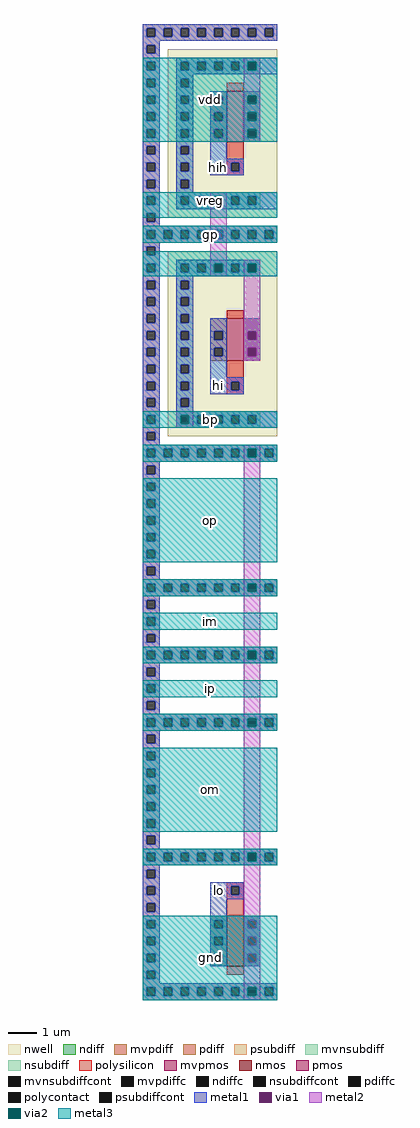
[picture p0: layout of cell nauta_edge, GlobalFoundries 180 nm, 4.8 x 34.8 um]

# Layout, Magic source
magic
tech gf180mcuC
<< nwell >>
rect -738 426 -660 546
rect -738 270 -660 402
<< nmos >>
rect -696 -108 -684 -72
<< pmos >>
rect -696 324 -684 354
<< mvpmos >>
rect -696 480 -684 516
<< ndiff >>
rect -708 -75 -696 -72
rect -708 -81 -705 -75
rect -699 -81 -696 -75
rect -708 -87 -696 -81
rect -708 -93 -705 -87
rect -699 -93 -696 -87
rect -708 -99 -696 -93
rect -708 -105 -705 -99
rect -699 -105 -696 -99
rect -708 -108 -696 -105
rect -684 -75 -672 -72
rect -684 -81 -681 -75
rect -675 -81 -672 -75
rect -684 -87 -672 -81
rect -684 -93 -681 -87
rect -675 -93 -672 -87
rect -684 -99 -672 -93
rect -684 -105 -681 -99
rect -675 -105 -672 -99
rect -684 -108 -672 -105
<< pdiff >>
rect -708 345 -696 354
rect -708 339 -705 345
rect -699 339 -696 345
rect -708 333 -696 339
rect -708 327 -705 333
rect -699 327 -696 333
rect -708 324 -696 327
rect -684 345 -672 354
rect -684 339 -681 345
rect -675 339 -672 345
rect -684 333 -672 339
rect -684 327 -681 333
rect -675 327 -672 333
rect -684 324 -672 327
<< mvpdiff >>
rect -708 513 -696 516
rect -708 507 -705 513
rect -699 507 -696 513
rect -708 501 -696 507
rect -708 495 -705 501
rect -699 495 -696 501
rect -708 489 -696 495
rect -708 483 -705 489
rect -699 483 -696 489
rect -708 480 -696 483
rect -684 513 -672 516
rect -684 507 -681 513
rect -675 507 -672 513
rect -684 501 -672 507
rect -684 495 -681 501
rect -675 495 -672 501
rect -684 489 -672 495
rect -684 483 -681 489
rect -675 483 -672 489
rect -684 480 -672 483
<< ndiffc >>
rect -705 -81 -699 -75
rect -705 -93 -699 -87
rect -705 -105 -699 -99
rect -681 -81 -675 -75
rect -681 -93 -675 -87
rect -681 -105 -675 -99
<< pdiffc >>
rect -705 339 -699 345
rect -705 327 -699 333
rect -681 339 -675 345
rect -681 327 -675 333
<< mvpdiffc >>
rect -705 507 -699 513
rect -705 495 -699 501
rect -705 483 -699 489
rect -681 507 -675 513
rect -681 495 -675 501
rect -681 483 -675 489
<< psubdiff >>
rect -756 561 -660 564
rect -756 555 -753 561
rect -747 555 -741 561
rect -735 555 -729 561
rect -723 555 -717 561
rect -711 555 -705 561
rect -699 555 -693 561
rect -687 555 -681 561
rect -675 555 -669 561
rect -663 555 -660 561
rect -756 552 -660 555
rect -756 549 -744 552
rect -756 543 -753 549
rect -747 543 -744 549
rect -756 537 -744 543
rect -756 531 -753 537
rect -747 531 -744 537
rect -756 525 -744 531
rect -756 519 -753 525
rect -747 519 -744 525
rect -756 513 -744 519
rect -756 507 -753 513
rect -747 507 -744 513
rect -756 501 -744 507
rect -756 495 -753 501
rect -747 495 -744 501
rect -756 489 -744 495
rect -756 483 -753 489
rect -747 483 -744 489
rect -756 477 -744 483
rect -756 471 -753 477
rect -747 471 -744 477
rect -756 465 -744 471
rect -756 459 -753 465
rect -747 459 -744 465
rect -756 453 -744 459
rect -756 447 -753 453
rect -747 447 -744 453
rect -756 441 -744 447
rect -756 435 -753 441
rect -747 435 -744 441
rect -756 429 -744 435
rect -756 423 -753 429
rect -747 423 -744 429
rect -756 420 -744 423
rect -756 417 -660 420
rect -756 411 -753 417
rect -747 411 -741 417
rect -735 411 -729 417
rect -723 411 -717 417
rect -711 411 -705 417
rect -699 411 -693 417
rect -687 411 -681 417
rect -675 411 -669 417
rect -663 411 -660 417
rect -756 408 -660 411
rect -756 405 -744 408
rect -756 399 -753 405
rect -747 399 -744 405
rect -756 393 -744 399
rect -756 387 -753 393
rect -747 387 -744 393
rect -756 381 -744 387
rect -756 375 -753 381
rect -747 375 -744 381
rect -756 369 -744 375
rect -756 363 -753 369
rect -747 363 -744 369
rect -756 357 -744 363
rect -756 351 -753 357
rect -747 351 -744 357
rect -756 345 -744 351
rect -756 339 -753 345
rect -747 339 -744 345
rect -756 333 -744 339
rect -756 327 -753 333
rect -747 327 -744 333
rect -756 321 -744 327
rect -756 315 -753 321
rect -747 315 -744 321
rect -756 309 -744 315
rect -756 303 -753 309
rect -747 303 -744 309
rect -756 297 -744 303
rect -756 291 -753 297
rect -747 291 -744 297
rect -756 285 -744 291
rect -756 279 -753 285
rect -747 279 -744 285
rect -756 273 -744 279
rect -756 267 -753 273
rect -747 267 -744 273
rect -756 264 -744 267
rect -756 261 -660 264
rect -756 255 -753 261
rect -747 255 -741 261
rect -735 255 -729 261
rect -723 255 -717 261
rect -711 255 -705 261
rect -699 255 -693 261
rect -687 255 -681 261
rect -675 255 -669 261
rect -663 255 -660 261
rect -756 252 -660 255
rect -756 249 -744 252
rect -756 243 -753 249
rect -747 243 -744 249
rect -756 237 -744 243
rect -756 231 -753 237
rect -747 231 -744 237
rect -756 225 -744 231
rect -756 219 -753 225
rect -747 219 -744 225
rect -756 213 -744 219
rect -756 207 -753 213
rect -747 207 -744 213
rect -756 201 -744 207
rect -756 195 -753 201
rect -747 195 -744 201
rect -756 189 -744 195
rect -756 183 -753 189
rect -747 183 -744 189
rect -756 177 -744 183
rect -756 171 -753 177
rect -747 171 -744 177
rect -756 168 -744 171
rect -756 165 -660 168
rect -756 159 -753 165
rect -747 159 -741 165
rect -735 159 -729 165
rect -723 159 -717 165
rect -711 159 -705 165
rect -699 159 -693 165
rect -687 159 -681 165
rect -675 159 -669 165
rect -663 159 -660 165
rect -756 156 -660 159
rect -756 153 -744 156
rect -756 147 -753 153
rect -747 147 -744 153
rect -756 141 -744 147
rect -756 135 -753 141
rect -747 135 -744 141
rect -756 129 -744 135
rect -756 123 -753 129
rect -747 123 -744 129
rect -756 120 -744 123
rect -756 117 -660 120
rect -756 111 -753 117
rect -747 111 -741 117
rect -735 111 -729 117
rect -723 111 -717 117
rect -711 111 -705 117
rect -699 111 -693 117
rect -687 111 -681 117
rect -675 111 -669 117
rect -663 111 -660 117
rect -756 108 -660 111
rect -756 105 -744 108
rect -756 99 -753 105
rect -747 99 -744 105
rect -756 93 -744 99
rect -756 87 -753 93
rect -747 87 -744 93
rect -756 81 -744 87
rect -756 75 -753 81
rect -747 75 -744 81
rect -756 72 -744 75
rect -756 69 -660 72
rect -756 63 -753 69
rect -747 63 -741 69
rect -735 63 -729 69
rect -723 63 -717 69
rect -711 63 -705 69
rect -699 63 -693 69
rect -687 63 -681 69
rect -675 63 -669 69
rect -663 63 -660 69
rect -756 60 -660 63
rect -756 57 -744 60
rect -756 51 -753 57
rect -747 51 -744 57
rect -756 45 -744 51
rect -756 39 -753 45
rect -747 39 -744 45
rect -756 33 -744 39
rect -756 27 -753 33
rect -747 27 -744 33
rect -756 21 -744 27
rect -756 15 -753 21
rect -747 15 -744 21
rect -756 9 -744 15
rect -756 3 -753 9
rect -747 3 -744 9
rect -756 -3 -744 3
rect -756 -9 -753 -3
rect -747 -9 -744 -3
rect -756 -15 -744 -9
rect -756 -21 -753 -15
rect -747 -21 -744 -15
rect -756 -24 -744 -21
rect -756 -27 -660 -24
rect -756 -33 -753 -27
rect -747 -33 -741 -27
rect -735 -33 -729 -27
rect -723 -33 -717 -27
rect -711 -33 -705 -27
rect -699 -33 -693 -27
rect -687 -33 -681 -27
rect -675 -33 -669 -27
rect -663 -33 -660 -27
rect -756 -36 -660 -33
rect -756 -39 -744 -36
rect -756 -45 -753 -39
rect -747 -45 -744 -39
rect -756 -51 -744 -45
rect -756 -57 -753 -51
rect -747 -57 -744 -51
rect -756 -63 -744 -57
rect -756 -69 -753 -63
rect -747 -69 -744 -63
rect -756 -75 -744 -69
rect -756 -81 -753 -75
rect -747 -81 -744 -75
rect -756 -87 -744 -81
rect -756 -93 -753 -87
rect -747 -93 -744 -87
rect -756 -99 -744 -93
rect -756 -105 -753 -99
rect -747 -105 -744 -99
rect -756 -111 -744 -105
rect -756 -117 -753 -111
rect -747 -117 -744 -111
rect -756 -120 -744 -117
rect -756 -123 -660 -120
rect -756 -129 -753 -123
rect -747 -129 -741 -123
rect -735 -129 -729 -123
rect -723 -129 -717 -123
rect -711 -129 -705 -123
rect -699 -129 -693 -123
rect -687 -129 -681 -123
rect -675 -129 -669 -123
rect -663 -129 -660 -123
rect -756 -132 -660 -129
<< nsubdiff >>
rect -732 393 -672 396
rect -732 387 -729 393
rect -723 387 -717 393
rect -711 387 -705 393
rect -699 387 -693 393
rect -687 387 -681 393
rect -675 387 -672 393
rect -732 384 -672 387
rect -732 381 -720 384
rect -732 375 -729 381
rect -723 375 -720 381
rect -732 369 -720 375
rect -732 363 -729 369
rect -723 363 -720 369
rect -732 357 -720 363
rect -732 351 -729 357
rect -723 351 -720 357
rect -732 345 -720 351
rect -732 339 -729 345
rect -723 339 -720 345
rect -732 333 -720 339
rect -732 327 -729 333
rect -723 327 -720 333
rect -732 321 -720 327
rect -732 315 -729 321
rect -723 315 -720 321
rect -732 309 -720 315
rect -732 303 -729 309
rect -723 303 -720 309
rect -732 297 -720 303
rect -732 291 -729 297
rect -723 291 -720 297
rect -732 288 -720 291
rect -732 285 -672 288
rect -732 279 -729 285
rect -723 279 -717 285
rect -711 279 -705 285
rect -699 279 -693 285
rect -687 279 -681 285
rect -675 279 -672 285
rect -732 276 -672 279
<< mvnsubdiff >>
rect -732 537 -672 540
rect -732 531 -729 537
rect -723 531 -717 537
rect -711 531 -705 537
rect -699 531 -693 537
rect -687 531 -681 537
rect -675 531 -672 537
rect -732 528 -672 531
rect -732 525 -720 528
rect -732 519 -729 525
rect -723 519 -720 525
rect -732 513 -720 519
rect -732 507 -729 513
rect -723 507 -720 513
rect -732 501 -720 507
rect -732 495 -729 501
rect -723 495 -720 501
rect -732 489 -720 495
rect -732 483 -729 489
rect -723 483 -720 489
rect -732 477 -720 483
rect -732 471 -729 477
rect -723 471 -720 477
rect -732 465 -720 471
rect -732 459 -729 465
rect -723 459 -720 465
rect -732 453 -720 459
rect -732 447 -729 453
rect -723 447 -720 453
rect -732 444 -720 447
rect -732 441 -672 444
rect -732 435 -729 441
rect -723 435 -717 441
rect -711 435 -705 441
rect -699 435 -693 441
rect -687 435 -681 441
rect -675 435 -672 441
rect -732 432 -672 435
<< psubdiffcont >>
rect -753 555 -747 561
rect -741 555 -735 561
rect -729 555 -723 561
rect -717 555 -711 561
rect -705 555 -699 561
rect -693 555 -687 561
rect -681 555 -675 561
rect -669 555 -663 561
rect -753 543 -747 549
rect -753 531 -747 537
rect -753 519 -747 525
rect -753 507 -747 513
rect -753 495 -747 501
rect -753 483 -747 489
rect -753 471 -747 477
rect -753 459 -747 465
rect -753 447 -747 453
rect -753 435 -747 441
rect -753 423 -747 429
rect -753 411 -747 417
rect -741 411 -735 417
rect -729 411 -723 417
rect -717 411 -711 417
rect -705 411 -699 417
rect -693 411 -687 417
rect -681 411 -675 417
rect -669 411 -663 417
rect -753 399 -747 405
rect -753 387 -747 393
rect -753 375 -747 381
rect -753 363 -747 369
rect -753 351 -747 357
rect -753 339 -747 345
rect -753 327 -747 333
rect -753 315 -747 321
rect -753 303 -747 309
rect -753 291 -747 297
rect -753 279 -747 285
rect -753 267 -747 273
rect -753 255 -747 261
rect -741 255 -735 261
rect -729 255 -723 261
rect -717 255 -711 261
rect -705 255 -699 261
rect -693 255 -687 261
rect -681 255 -675 261
rect -669 255 -663 261
rect -753 243 -747 249
rect -753 231 -747 237
rect -753 219 -747 225
rect -753 207 -747 213
rect -753 195 -747 201
rect -753 183 -747 189
rect -753 171 -747 177
rect -753 159 -747 165
rect -741 159 -735 165
rect -729 159 -723 165
rect -717 159 -711 165
rect -705 159 -699 165
rect -693 159 -687 165
rect -681 159 -675 165
rect -669 159 -663 165
rect -753 147 -747 153
rect -753 135 -747 141
rect -753 123 -747 129
rect -753 111 -747 117
rect -741 111 -735 117
rect -729 111 -723 117
rect -717 111 -711 117
rect -705 111 -699 117
rect -693 111 -687 117
rect -681 111 -675 117
rect -669 111 -663 117
rect -753 99 -747 105
rect -753 87 -747 93
rect -753 75 -747 81
rect -753 63 -747 69
rect -741 63 -735 69
rect -729 63 -723 69
rect -717 63 -711 69
rect -705 63 -699 69
rect -693 63 -687 69
rect -681 63 -675 69
rect -669 63 -663 69
rect -753 51 -747 57
rect -753 39 -747 45
rect -753 27 -747 33
rect -753 15 -747 21
rect -753 3 -747 9
rect -753 -9 -747 -3
rect -753 -21 -747 -15
rect -753 -33 -747 -27
rect -741 -33 -735 -27
rect -729 -33 -723 -27
rect -717 -33 -711 -27
rect -705 -33 -699 -27
rect -693 -33 -687 -27
rect -681 -33 -675 -27
rect -669 -33 -663 -27
rect -753 -45 -747 -39
rect -753 -57 -747 -51
rect -753 -69 -747 -63
rect -753 -81 -747 -75
rect -753 -93 -747 -87
rect -753 -105 -747 -99
rect -753 -117 -747 -111
rect -753 -129 -747 -123
rect -741 -129 -735 -123
rect -729 -129 -723 -123
rect -717 -129 -711 -123
rect -705 -129 -699 -123
rect -693 -129 -687 -123
rect -681 -129 -675 -123
rect -669 -129 -663 -123
<< nsubdiffcont >>
rect -729 387 -723 393
rect -717 387 -711 393
rect -705 387 -699 393
rect -693 387 -687 393
rect -681 387 -675 393
rect -729 375 -723 381
rect -729 363 -723 369
rect -729 351 -723 357
rect -729 339 -723 345
rect -729 327 -723 333
rect -729 315 -723 321
rect -729 303 -723 309
rect -729 291 -723 297
rect -729 279 -723 285
rect -717 279 -711 285
rect -705 279 -699 285
rect -693 279 -687 285
rect -681 279 -675 285
<< mvnsubdiffcont >>
rect -729 531 -723 537
rect -717 531 -711 537
rect -705 531 -699 537
rect -693 531 -687 537
rect -681 531 -675 537
rect -729 519 -723 525
rect -729 507 -723 513
rect -729 495 -723 501
rect -729 483 -723 489
rect -729 471 -723 477
rect -729 459 -723 465
rect -729 447 -723 453
rect -729 435 -723 441
rect -717 435 -711 441
rect -705 435 -699 441
rect -693 435 -687 441
rect -681 435 -675 441
<< polysilicon >>
rect -696 516 -684 522
rect -696 465 -684 480
rect -696 459 -693 465
rect -687 459 -684 465
rect -696 456 -684 459
rect -696 354 -684 360
rect -696 309 -684 324
rect -696 303 -693 309
rect -687 303 -684 309
rect -696 300 -684 303
rect -696 -51 -684 -48
rect -696 -57 -693 -51
rect -687 -57 -684 -51
rect -696 -72 -684 -57
rect -696 -114 -684 -108
<< polycontact >>
rect -693 459 -687 465
rect -693 303 -687 309
rect -693 -57 -687 -51
<< metal1 >>
rect -756 561 -660 564
rect -756 555 -753 561
rect -747 555 -741 561
rect -735 555 -729 561
rect -723 555 -717 561
rect -711 555 -705 561
rect -699 555 -693 561
rect -687 555 -681 561
rect -675 555 -669 561
rect -663 555 -660 561
rect -756 552 -660 555
rect -756 549 -744 552
rect -756 543 -753 549
rect -747 543 -744 549
rect -756 537 -744 543
rect -756 531 -753 537
rect -747 531 -744 537
rect -756 525 -744 531
rect -756 519 -753 525
rect -747 519 -744 525
rect -756 513 -744 519
rect -756 507 -753 513
rect -747 507 -744 513
rect -756 501 -744 507
rect -756 495 -753 501
rect -747 495 -744 501
rect -756 489 -744 495
rect -756 483 -753 489
rect -747 483 -744 489
rect -756 477 -744 483
rect -756 471 -753 477
rect -747 471 -744 477
rect -756 465 -744 471
rect -756 459 -753 465
rect -747 459 -744 465
rect -756 453 -744 459
rect -756 447 -753 453
rect -747 447 -744 453
rect -756 441 -744 447
rect -756 435 -753 441
rect -747 435 -744 441
rect -756 429 -744 435
rect -732 537 -660 540
rect -732 531 -729 537
rect -723 531 -717 537
rect -711 531 -705 537
rect -699 531 -693 537
rect -687 531 -681 537
rect -675 531 -660 537
rect -732 528 -660 531
rect -732 525 -720 528
rect -732 519 -729 525
rect -723 519 -720 525
rect -732 513 -720 519
rect -732 507 -729 513
rect -723 507 -720 513
rect -732 501 -720 507
rect -732 495 -729 501
rect -723 495 -720 501
rect -732 489 -720 495
rect -732 483 -729 489
rect -723 483 -720 489
rect -732 477 -720 483
rect -732 471 -729 477
rect -723 471 -720 477
rect -732 465 -720 471
rect -732 459 -729 465
rect -723 459 -720 465
rect -732 453 -720 459
rect -708 513 -696 516
rect -708 507 -705 513
rect -699 507 -696 513
rect -708 501 -696 507
rect -708 495 -705 501
rect -699 495 -696 501
rect -708 489 -696 495
rect -708 483 -705 489
rect -699 483 -696 489
rect -708 468 -696 483
rect -684 513 -672 516
rect -684 507 -681 513
rect -675 507 -672 513
rect -684 501 -672 507
rect -684 495 -681 501
rect -675 495 -672 501
rect -684 489 -672 495
rect -684 483 -681 489
rect -675 483 -672 489
rect -684 480 -672 483
rect -708 465 -684 468
rect -708 459 -693 465
rect -687 459 -684 465
rect -708 456 -684 459
rect -732 447 -729 453
rect -723 447 -720 453
rect -732 444 -720 447
rect -732 441 -660 444
rect -732 435 -729 441
rect -723 435 -717 441
rect -711 435 -705 441
rect -699 435 -693 441
rect -687 435 -681 441
rect -675 435 -660 441
rect -732 432 -660 435
rect -756 423 -753 429
rect -747 423 -744 429
rect -756 420 -744 423
rect -756 417 -660 420
rect -756 411 -753 417
rect -747 411 -741 417
rect -735 411 -729 417
rect -723 411 -717 417
rect -711 411 -705 417
rect -699 411 -693 417
rect -687 411 -681 417
rect -675 411 -669 417
rect -663 411 -660 417
rect -756 408 -660 411
rect -756 405 -744 408
rect -756 399 -753 405
rect -747 399 -744 405
rect -756 393 -744 399
rect -756 387 -753 393
rect -747 387 -744 393
rect -756 381 -744 387
rect -756 375 -753 381
rect -747 375 -744 381
rect -756 369 -744 375
rect -756 363 -753 369
rect -747 363 -744 369
rect -756 357 -744 363
rect -756 351 -753 357
rect -747 351 -744 357
rect -756 345 -744 351
rect -756 339 -753 345
rect -747 339 -744 345
rect -756 333 -744 339
rect -756 327 -753 333
rect -747 327 -744 333
rect -756 321 -744 327
rect -756 315 -753 321
rect -747 315 -744 321
rect -756 309 -744 315
rect -756 303 -753 309
rect -747 303 -744 309
rect -756 297 -744 303
rect -756 291 -753 297
rect -747 291 -744 297
rect -756 285 -744 291
rect -756 279 -753 285
rect -747 279 -744 285
rect -756 273 -744 279
rect -732 393 -672 396
rect -732 387 -729 393
rect -723 387 -717 393
rect -711 387 -705 393
rect -699 387 -693 393
rect -687 387 -681 393
rect -675 387 -672 393
rect -732 384 -672 387
rect -732 381 -720 384
rect -732 375 -729 381
rect -723 375 -720 381
rect -732 369 -720 375
rect -732 363 -729 369
rect -723 363 -720 369
rect -732 357 -720 363
rect -732 351 -729 357
rect -723 351 -720 357
rect -732 345 -720 351
rect -732 339 -729 345
rect -723 339 -720 345
rect -732 333 -720 339
rect -732 327 -729 333
rect -723 327 -720 333
rect -732 321 -720 327
rect -732 315 -729 321
rect -723 315 -720 321
rect -732 309 -720 315
rect -732 303 -729 309
rect -723 303 -720 309
rect -732 297 -720 303
rect -708 345 -696 354
rect -708 339 -705 345
rect -699 339 -696 345
rect -708 333 -696 339
rect -708 327 -705 333
rect -699 327 -696 333
rect -708 312 -696 327
rect -684 345 -672 354
rect -684 339 -681 345
rect -675 339 -672 345
rect -684 333 -672 339
rect -684 327 -681 333
rect -675 327 -672 333
rect -684 324 -672 327
rect -708 309 -684 312
rect -708 303 -693 309
rect -687 303 -684 309
rect -708 300 -684 303
rect -732 291 -729 297
rect -723 291 -720 297
rect -732 288 -720 291
rect -732 285 -660 288
rect -732 279 -729 285
rect -723 279 -717 285
rect -711 279 -705 285
rect -699 279 -693 285
rect -687 279 -681 285
rect -675 279 -660 285
rect -732 276 -660 279
rect -756 267 -753 273
rect -747 267 -744 273
rect -756 264 -744 267
rect -756 261 -660 264
rect -756 255 -753 261
rect -747 255 -741 261
rect -735 255 -729 261
rect -723 255 -717 261
rect -711 255 -705 261
rect -699 255 -693 261
rect -687 255 -681 261
rect -675 255 -669 261
rect -663 255 -660 261
rect -756 252 -660 255
rect -756 249 -744 252
rect -756 243 -753 249
rect -747 243 -744 249
rect -756 237 -744 243
rect -756 231 -753 237
rect -747 231 -744 237
rect -756 225 -744 231
rect -756 219 -753 225
rect -747 219 -744 225
rect -756 213 -744 219
rect -756 207 -753 213
rect -747 207 -744 213
rect -756 201 -744 207
rect -756 195 -753 201
rect -747 195 -744 201
rect -756 189 -744 195
rect -756 183 -753 189
rect -747 183 -744 189
rect -756 177 -744 183
rect -756 171 -753 177
rect -747 171 -744 177
rect -756 168 -744 171
rect -756 165 -660 168
rect -756 159 -753 165
rect -747 159 -741 165
rect -735 159 -729 165
rect -723 159 -717 165
rect -711 159 -705 165
rect -699 159 -693 165
rect -687 159 -681 165
rect -675 159 -669 165
rect -663 159 -660 165
rect -756 156 -660 159
rect -756 153 -744 156
rect -756 147 -753 153
rect -747 147 -744 153
rect -756 141 -744 147
rect -756 135 -753 141
rect -747 135 -744 141
rect -756 129 -744 135
rect -756 123 -753 129
rect -747 123 -744 129
rect -756 120 -744 123
rect -756 117 -660 120
rect -756 111 -753 117
rect -747 111 -741 117
rect -735 111 -729 117
rect -723 111 -717 117
rect -711 111 -705 117
rect -699 111 -693 117
rect -687 111 -681 117
rect -675 111 -669 117
rect -663 111 -660 117
rect -756 108 -660 111
rect -756 105 -744 108
rect -756 99 -753 105
rect -747 99 -744 105
rect -756 93 -744 99
rect -756 87 -753 93
rect -747 87 -744 93
rect -756 81 -744 87
rect -756 75 -753 81
rect -747 75 -744 81
rect -756 72 -744 75
rect -756 69 -660 72
rect -756 63 -753 69
rect -747 63 -741 69
rect -735 63 -729 69
rect -723 63 -717 69
rect -711 63 -705 69
rect -699 63 -693 69
rect -687 63 -681 69
rect -675 63 -669 69
rect -663 63 -660 69
rect -756 60 -660 63
rect -756 57 -744 60
rect -756 51 -753 57
rect -747 51 -744 57
rect -756 45 -744 51
rect -756 39 -753 45
rect -747 39 -744 45
rect -756 33 -744 39
rect -756 27 -753 33
rect -747 27 -744 33
rect -756 21 -744 27
rect -756 15 -753 21
rect -747 15 -744 21
rect -756 9 -744 15
rect -756 3 -753 9
rect -747 3 -744 9
rect -756 -3 -744 3
rect -756 -9 -753 -3
rect -747 -9 -744 -3
rect -756 -15 -744 -9
rect -756 -21 -753 -15
rect -747 -21 -744 -15
rect -756 -24 -744 -21
rect -756 -27 -660 -24
rect -756 -33 -753 -27
rect -747 -33 -741 -27
rect -735 -33 -729 -27
rect -723 -33 -717 -27
rect -711 -33 -705 -27
rect -699 -33 -693 -27
rect -687 -33 -681 -27
rect -675 -33 -669 -27
rect -663 -33 -660 -27
rect -756 -36 -660 -33
rect -756 -39 -744 -36
rect -756 -45 -753 -39
rect -747 -45 -744 -39
rect -756 -51 -744 -45
rect -756 -57 -753 -51
rect -747 -57 -744 -51
rect -756 -63 -744 -57
rect -756 -69 -753 -63
rect -747 -69 -744 -63
rect -756 -75 -744 -69
rect -756 -81 -753 -75
rect -747 -81 -744 -75
rect -756 -87 -744 -81
rect -756 -93 -753 -87
rect -747 -93 -744 -87
rect -756 -99 -744 -93
rect -756 -105 -753 -99
rect -747 -105 -744 -99
rect -756 -111 -744 -105
rect -708 -51 -684 -48
rect -708 -57 -693 -51
rect -687 -57 -684 -51
rect -708 -60 -684 -57
rect -708 -75 -696 -60
rect -708 -81 -705 -75
rect -699 -81 -696 -75
rect -708 -87 -696 -81
rect -708 -93 -705 -87
rect -699 -93 -696 -87
rect -708 -99 -696 -93
rect -708 -105 -705 -99
rect -699 -105 -696 -99
rect -708 -108 -696 -105
rect -684 -75 -672 -72
rect -684 -81 -681 -75
rect -675 -81 -672 -75
rect -684 -87 -672 -81
rect -684 -93 -681 -87
rect -675 -93 -672 -87
rect -684 -99 -672 -93
rect -684 -105 -681 -99
rect -675 -105 -672 -99
rect -684 -108 -672 -105
rect -756 -117 -753 -111
rect -747 -117 -744 -111
rect -756 -120 -744 -117
rect -756 -123 -660 -120
rect -756 -129 -753 -123
rect -747 -129 -741 -123
rect -735 -129 -729 -123
rect -723 -129 -717 -123
rect -711 -129 -705 -123
rect -699 -129 -693 -123
rect -687 -129 -681 -123
rect -675 -129 -669 -123
rect -663 -129 -660 -123
rect -756 -132 -660 -129
<< via1 >>
rect -681 531 -675 537
rect -681 507 -675 513
rect -681 495 -675 501
rect -681 483 -675 489
rect -681 339 -675 345
rect -681 327 -675 333
rect -729 279 -723 285
rect -681 255 -675 261
rect -681 159 -675 165
rect -681 111 -675 117
rect -681 63 -675 69
rect -681 -33 -675 -27
rect -681 -81 -675 -75
rect -681 -93 -675 -87
rect -681 -105 -675 -99
rect -681 -129 -675 -123
<< metal2 >>
rect -684 537 -672 540
rect -684 531 -681 537
rect -675 531 -672 537
rect -684 513 -672 531
rect -684 507 -681 513
rect -675 507 -672 513
rect -684 501 -672 507
rect -684 495 -681 501
rect -675 495 -672 501
rect -684 489 -672 495
rect -684 483 -681 489
rect -675 483 -672 489
rect -684 480 -672 483
rect -708 441 -696 444
rect -708 435 -705 441
rect -699 435 -696 441
rect -708 393 -696 435
rect -708 387 -705 393
rect -699 387 -696 393
rect -708 384 -696 387
rect -684 393 -672 396
rect -684 387 -681 393
rect -675 387 -672 393
rect -684 345 -672 387
rect -684 339 -681 345
rect -675 339 -672 345
rect -684 333 -672 339
rect -684 327 -681 333
rect -675 327 -672 333
rect -684 324 -672 327
rect -732 285 -720 288
rect -732 279 -729 285
rect -723 279 -720 285
rect -732 276 -720 279
rect -684 261 -672 264
rect -684 255 -681 261
rect -675 255 -672 261
rect -684 165 -672 255
rect -684 159 -681 165
rect -675 159 -672 165
rect -684 117 -672 159
rect -684 111 -681 117
rect -675 111 -672 117
rect -684 69 -672 111
rect -684 63 -681 69
rect -675 63 -672 69
rect -684 -27 -672 63
rect -684 -33 -681 -27
rect -675 -33 -672 -27
rect -684 -75 -672 -33
rect -684 -81 -681 -75
rect -675 -81 -672 -75
rect -684 -87 -672 -81
rect -684 -93 -681 -87
rect -675 -93 -672 -87
rect -684 -99 -672 -93
rect -684 -105 -681 -99
rect -675 -105 -672 -99
rect -684 -123 -672 -105
rect -684 -129 -681 -123
rect -675 -129 -672 -123
rect -684 -132 -672 -129
<< via2 >>
rect -681 531 -675 537
rect -681 507 -675 513
rect -681 495 -675 501
rect -681 483 -675 489
rect -705 435 -699 441
rect -705 387 -699 393
rect -681 387 -675 393
rect -729 279 -723 285
rect -681 255 -675 261
rect -681 159 -675 165
rect -681 111 -675 117
rect -681 63 -675 69
rect -681 -33 -675 -27
rect -681 -129 -675 -123
<< metal3 >>
rect -756 537 -660 540
rect -756 531 -681 537
rect -675 531 -660 537
rect -756 513 -660 531
rect -756 507 -681 513
rect -675 507 -660 513
rect -756 501 -660 507
rect -756 495 -681 501
rect -675 495 -660 501
rect -756 489 -660 495
rect -756 483 -681 489
rect -675 483 -660 489
rect -756 480 -660 483
rect -756 441 -660 444
rect -756 435 -705 441
rect -699 435 -660 441
rect -756 426 -660 435
rect -756 408 -660 420
rect -756 393 -660 402
rect -756 387 -705 393
rect -699 387 -681 393
rect -675 387 -660 393
rect -756 384 -660 387
rect -756 285 -660 288
rect -756 279 -729 285
rect -723 279 -660 285
rect -756 276 -660 279
rect -756 261 -660 264
rect -756 255 -681 261
rect -675 255 -660 261
rect -756 252 -660 255
rect -756 180 -660 240
rect -756 165 -660 168
rect -756 159 -681 165
rect -675 159 -660 165
rect -756 156 -660 159
rect -756 132 -660 144
rect -756 117 -660 120
rect -756 111 -681 117
rect -675 111 -660 117
rect -756 108 -660 111
rect -756 84 -660 96
rect -756 69 -660 72
rect -756 63 -681 69
rect -675 63 -660 69
rect -756 60 -660 63
rect -756 -12 -660 48
rect -756 -27 -660 -24
rect -756 -33 -681 -27
rect -675 -33 -660 -27
rect -756 -36 -660 -33
rect -756 -123 -660 -72
rect -756 -129 -681 -123
rect -675 -129 -660 -123
rect -756 -132 -660 -129
<< labels >>
rlabel metal3 -756 480 -660 540 0 vdd
port 1 nsew
rlabel metal3 -756 408 -660 420 0 gp
port 2 nsew
rlabel metal3 -756 276 -660 288 0 bp
port 3 nsew
rlabel metal3 -756 432 -660 444 0 vreg
port 4 nsew
rlabel metal3 -756 180 -660 240 0 op
port 5 nsew
rlabel metal3 -756 132 -660 144 0 im
port 6 nsew
rlabel metal3 -756 84 -660 96 0 ip
port 7 nsew
rlabel metal3 -756 -12 -660 48 0 om
port 8 nsew
rlabel metal3 -756 -132 -660 -72 0 gnd
port 9 nsew
rlabel metal1 -708 456 -696 468 1 hih
rlabel metal1 -708 300 -696 312 0 hi
rlabel metal1 -708 -60 -696 -48 0 lo
<< end >>
